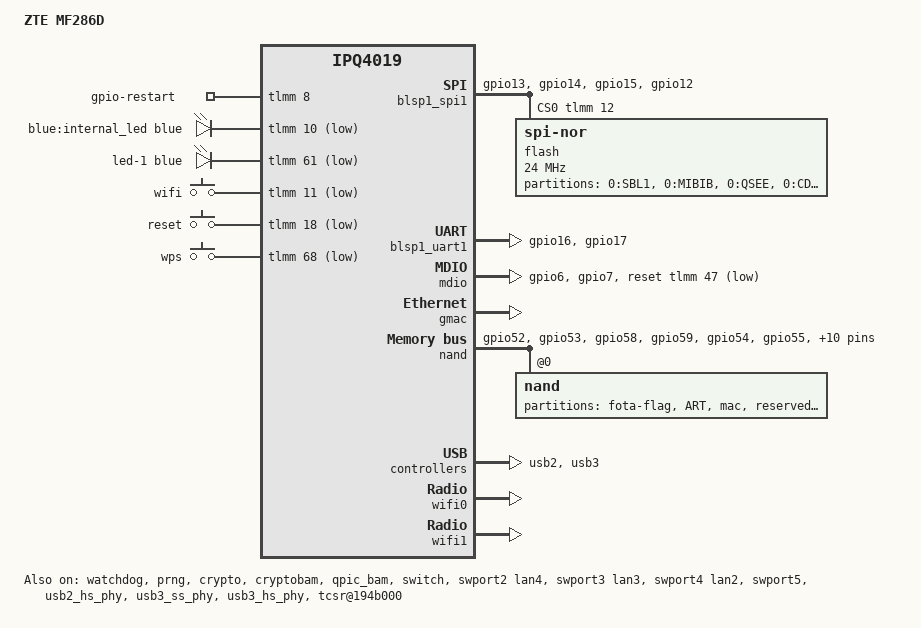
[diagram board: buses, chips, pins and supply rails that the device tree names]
// SPDX-License-Identifier: GPL-2.0-or-later OR MIT
// Copyright (c) 2022, Pawel Dembicki <paweldembicki@gmail.com>.

#include "qcom-ipq4019.dtsi"
#include <dt-bindings/soc/qcom,tcsr.h>
#include <dt-bindings/gpio/gpio.h>
#include <dt-bindings/input/input.h>
#include <dt-bindings/leds/common.h>

/ {
	model = "ZTE MF286D";
	compatible = "zte,mf286d";

	aliases {
		// TODO: Verify if the ethernet0 alias is needed
		ethernet0 = &gmac;
		led-boot = &led_internal;
		led-failsafe = &led_internal;
		led-running = &led_internal;
		led-upgrade = &led_internal;
	};

	chosen {
		/*
		 * bootargs forced by u-boot bootipq command:
		 * 'ubi.mtd=rootfs root=mtd:ubi_rootfs rootfstype=squashfs rootwait'
		 */
		bootargs-append = " root=/dev/ubiblock0_1";
	};

	gpio-restart {
		compatible = "gpio-restart";
		gpios = <&tlmm 8 GPIO_ACTIVE_HIGH>;
	};

	leds {
		compatible = "gpio-leds";

		led_internal: led-0 {
			function = LED_FUNCTION_STATUS;
			color = <LED_COLOR_ID_BLUE>;
			gpios = <&tlmm 10 GPIO_ACTIVE_LOW>;
			label = "blue:internal_led";
			default-state = "keep";
		};

		led-1 {
			function = LED_FUNCTION_WLAN;
			color = <LED_COLOR_ID_BLUE>;
			gpios = <&tlmm 61 GPIO_ACTIVE_LOW>;
			linux,default-trigger = "phy0tpt";
		};
	};

	keys {
		compatible = "gpio-keys";

		wifi {
			label = "wifi";
			linux,code = <KEY_RFKILL>;
			gpios = <&tlmm 11 GPIO_ACTIVE_LOW>;
		};

		reset {
			label = "reset";
			linux,code = <KEY_RESTART>;
			gpios = <&tlmm 18 GPIO_ACTIVE_LOW>;
		};

		wps {
			label = "wps";
			linux,code = <KEY_WPS_BUTTON>;
			gpios = <&tlmm 68 GPIO_ACTIVE_LOW>;
		};
	};

	soc {
		tcsr@1949000 {
			compatible = "qcom,tcsr";
			reg = <0x1949000 0x100>;
			qcom,wifi_glb_cfg = <TCSR_WIFI_GLB_CFG>;
		};

		tcsr@194b000 {
			/* select hostmode */
			compatible = "qcom,tcsr";
			reg = <0x194b000 0x100>;
			qcom,usb-hsphy-mode-select = <TCSR_USB_HSPHY_HOST_MODE>;
			status = "okay";
		};

		ess_tcsr@1953000 {
			compatible = "qcom,tcsr";
			reg = <0x1953000 0x1000>;
			qcom,ess-interface-select = <TCSR_ESS_PSGMII>;
		};

		tcsr@1957000 {
			compatible = "qcom,tcsr";
			reg = <0x1957000 0x100>;
			qcom,wifi_noc_memtype_m0_m2 = <TCSR_WIFI_NOC_MEMTYPE_M0_M2>;
		};
	};
};

&watchdog {
	status = "okay";
};

&prng {
	status = "okay";
};

&crypto {
	status = "okay";
};

&blsp_dma {
	status = "okay";
};

&blsp1_spi1 {
	pinctrl-0 = <&spi_0_pins>;
	pinctrl-names = "default";
	status = "okay";
	cs-gpios = <&tlmm 12 GPIO_ACTIVE_HIGH>;

	flash@0 {
		/* u-boot is looking for "n25q128a11" property */
		compatible = "jedec,spi-nor", "n25q128a11";
		#address-cells = <1>;
		#size-cells = <1>;
		reg = <0>;
		spi-max-frequency = <24000000>;

		partitions {
			compatible = "fixed-partitions";
			#address-cells = <1>;
			#size-cells = <1>;

			partition@0 {
				label = "0:SBL1";
				reg = <0x0 0x40000>;
				read-only;
			};

			partition@40000 {
				label = "0:MIBIB";
				reg = <0x40000 0x20000>;
				read-only;
			};

			partition@60000 {
				label = "0:QSEE";
				reg = <0x60000 0x60000>;
				read-only;
				};

			partition@c0000 {
				label = "0:CDT";
				reg = <0xc0000 0x10000>;
				read-only;
			};

			partition@d0000 {
				label = "0:DDRPARAMS";
				reg = <0xd0000 0x10000>;
				read-only;
			};

			partition@e0000 {
				label = "0:APPSBLENV";
				reg = <0xe0000 0x10000>;
				read-only;
			};

			partition@f0000 {
				label = "0:APPSBL";
				reg = <0xf0000 0xc0000>;
				read-only;
			};

			partition@1b0000 {
				label = "0:reserved1";
				reg = <0x1b0000 0x50000>;
				read-only;
			};
		};
	};
};

&blsp1_uart1 {
	pinctrl-0 = <&serial_pins>;
	pinctrl-names = "default";
	status = "okay";
};

&cryptobam {
	status = "okay";
};

&mdio {
	status = "okay";
	pinctrl-0 = <&mdio_pins>;
	pinctrl-names = "default";
	reset-gpios = <&tlmm 47 GPIO_ACTIVE_LOW>;
	reset-delay-us = <2000>;
};

&gmac {
	status = "okay";
	nvmem-cell-names = "mac-address";
	nvmem-cells = <&macaddr_config_0 0>;
};

&nand {
	pinctrl-0 = <&nand_pins>;
	pinctrl-names = "default";
	status = "okay";

	nand@0 {
		partitions {
			compatible = "fixed-partitions";
			#address-cells = <1>;
			#size-cells = <1>;

			partition@0 {
				label = "fota-flag";
				reg = <0x0 0xa0000>;
				read-only;
			};

			partition@a0000 {
				label = "ART";
				reg = <0xa0000 0x80000>;
				read-only;

				nvmem-layout {
					compatible = "fixed-layout";
					#address-cells = <1>;
					#size-cells = <1>;

					precal_art_1000: precal@1000 {
						reg = <0x1000 0x2f20>;
					};

					precal_art_5000: precal@5000 {
						reg = <0x5000 0x2f20>;
					};
				};
			};

			partition@120000 {
				label = "mac";
				reg = <0x120000 0x80000>;
				read-only;

				nvmem-layout {
					compatible = "fixed-layout";
					#address-cells = <1>;
					#size-cells = <1>;

					macaddr_config_0: macaddr@0 {
						compatible = "mac-base";
						reg = <0x0 0x6>;
						#nvmem-cell-cells = <1>;
					};
				};
			};

			partition@1a0000 {
				label = "reserved2";
				reg = <0x1a0000 0xc0000>;
				read-only;
			};

			partition@260000 {
				label = "cfg-param";
				reg = <0x260000 0x400000>;
				read-only;
			};

			partition@660000 {
				label = "log";
				reg = <0x660000 0x400000>;
			};

			partition@a60000 {
				label = "oops";
				reg = <0xa60000 0xa0000>;
			};

			partition@b00000 {
				label = "reserved3";
				reg = <0xb00000 0x500000>;
				read-only;
			};

			partition@1000000 {
				label = "web";
				reg = <0x1000000 0x800000>;
			};

			partition@1800000 {
				label = "rootfs";
				reg = <0x1800000 0x1d00000>;
			};

			partition@3500000 {
				label = "data";
				reg = <0x3500000 0x1900000>;
			};

			partition@4e00000 {
				label = "fota";
				reg = <0x4e00000 0x3200000>;
			};
		};
	};
};

&qpic_bam {
	status = "okay";
};

&switch {
	status = "okay";
};

&swport2 {
	status = "okay";

	label = "lan4";
};

&swport3 {
	status = "okay";

	label = "lan3";
};

&swport4 {
	status = "okay";

	label = "lan2";
};

&swport5 {
	status = "okay";

	nvmem-cell-names = "mac-address";
	nvmem-cells = <&macaddr_config_0 1>;
};

&tlmm {
	i2c_0_pins: i2c_0_pinmux {
		mux {
			pins = "gpio20", "gpio21";
			function = "blsp_i2c0";
			bias-disable;
		};
	};

	mdio_pins: mdio_pinmux {
		mux_1 {
			pins = "gpio6";
			function = "mdio";
			bias-pull-up;
		};

		mux_2 {
			pins = "gpio7";
			function = "mdc";
			bias-pull-up;
		};
	};

	nand_pins: nand_pins {
		pullups {
			pins =	"gpio52", "gpio53", "gpio58",
				"gpio59";
			function = "qpic";
			bias-pull-up;
		};

		pulldowns {
			pins =	"gpio54", "gpio55", "gpio56",
				"gpio57", "gpio60",
				"gpio62", "gpio63", "gpio64",
				"gpio65", "gpio66", "gpio67",
				"gpio69";
			function = "qpic";
			bias-pull-down;
		};
	};

	serial_pins: serial_pinmux {
		mux {
			pins = "gpio16", "gpio17";
			function = "blsp_uart0";
			bias-disable;
		};
	};

	spi_0_pins: spi_0_pinmux {
		pinmux {
			function = "blsp_spi0";
			pins = "gpio13", "gpio14", "gpio15";
			drive-strength = <12>;
			bias-disable;
		};

		pinmux_cs {
			function = "gpio";
			pins = "gpio12";
			drive-strength = <2>;
			bias-disable;
			output-high;
		};
	};
};

&usb2_hs_phy {
	status = "okay";
};

&usb2 {
	status = "okay";
};

&usb3_ss_phy {
	status = "okay";
};

&usb3_hs_phy {
	status = "okay";
};

&usb3 {
	status = "okay";
};

&wifi0 {
	status = "okay";
	nvmem-cell-names = "pre-calibration", "mac-address";
	nvmem-cells = <&precal_art_1000>, <&macaddr_config_0 2>;
	qcom,ath10k-calibration-variant = "zte,mf286d";
};

&wifi1 {
	status = "okay";
	nvmem-cell-names = "pre-calibration", "mac-address";
	nvmem-cells = <&precal_art_5000>, <&macaddr_config_0 3>;
	qcom,ath10k-calibration-variant = "zte,mf286d";
};
